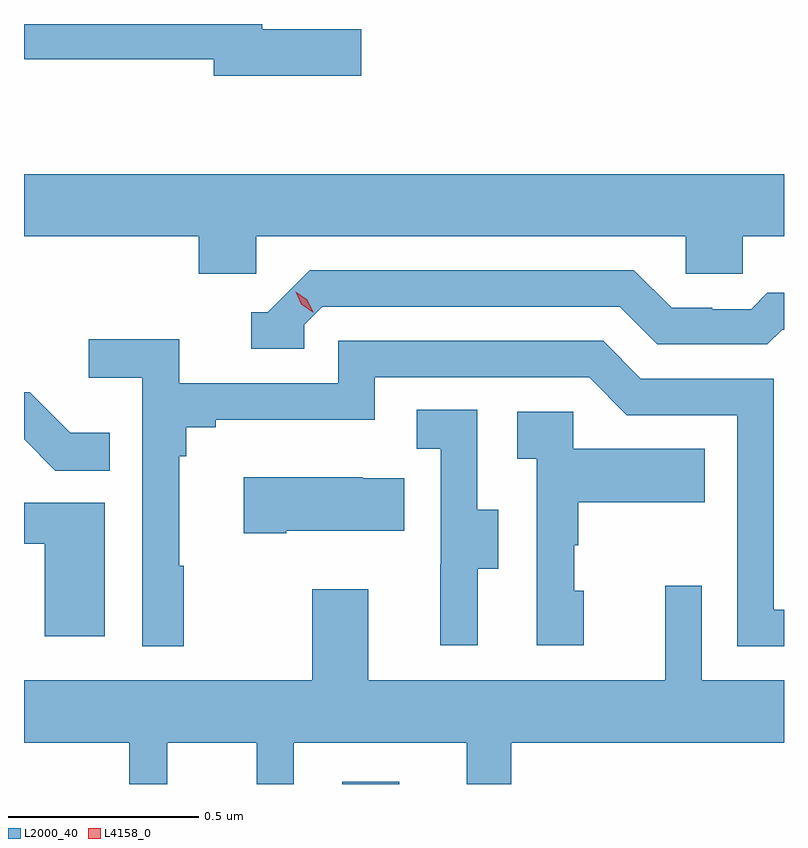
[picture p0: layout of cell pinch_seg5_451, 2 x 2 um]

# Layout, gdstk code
import gdstk
lib = gdstk.Library(unit=1e-6, precision=1e-09)
def R(c, l, rs):  # rectangles x0, y0, x1, y1
    for r in rs: c.add(gdstk.rectangle(r[:2], r[2:], *l))
def P(c, l, *ps):  # polygons
    for p in ps: c.add(gdstk.Polygon(p, *l))
L2000_40 = (2000, 40)
L4158_0 = (4158, 0)

pinch_seg5_451 = lib.new_cell('pinch_seg5_451')
R(pinch_seg5_451, L2000_40, [(946.013,864.643,946.162,864.649)])
P(pinch_seg5_451, L2000_40, [(946.063,866.629),(945.802,866.629),(945.802,866.643),(945.175,866.643),(945.175,866.55),(945.674,866.55),(945.674,866.507),(946.063,866.507)],
  [(945.786,866.084),(946.917,866.084),(946.917,865.986),(947.067,865.986),(947.067,866.084),(947.175,866.084),(947.175,866.248),(945.175,866.248),(945.175,866.084),(945.635,866.084),(945.635,865.986),(945.786,865.986)],
  [(945.912,865.851),(945.96,865.899),(946.743,865.899),(946.842,865.8),(947.131,865.8),(947.17,865.839),(947.175,865.839),(947.175,865.936),(947.131,865.936),(947.089,865.893),(946.986,865.893),(946.986,865.896),(946.879,865.896),(946.78,865.995),(945.927,865.995),(945.816,865.884),(945.773,865.884),(945.773,865.788),(945.912,865.788)],
  [(945.595,865.217),(945.583,865.217),(945.583,865.505),(945.602,865.505),(945.602,865.582),(945.679,865.582),(945.679,865.601),(946.098,865.601),(946.098,865.713),(946.662,865.713),(946.761,865.614),(947.052,865.614),(947.052,865.005),(947.175,865.005),(947.175,865.101),(947.148,865.101),(947.148,865.71),(946.798,865.71),(946.699,865.809),(946.002,865.809),(946.002,865.698),(945.584,865.698),(945.584,865.814),(945.345,865.814),(945.345,865.712),(945.486,865.712),(945.486,865.005),(945.595,865.005)],
  [(945.401,865.567),(945.297,865.567),(945.19,865.674),(945.175,865.674),(945.175,865.55),(945.257,865.468),(945.401,865.468)],
  [(946.369,865.21),(946.423,865.21),(946.423,865.365),(946.368,865.365),(946.368,865.628),(946.209,865.628),(946.209,865.525),(946.272,865.525),(946.272,865.221),(946.271,865.221),(946.271,865.008),(946.369,865.008)],
  [(946.648,865.152),(946.623,865.152),(946.623,865.271),(946.633,865.271),(946.633,865.385),(946.967,865.385),(946.967,865.525),(946.62,865.525),(946.62,865.623),(946.473,865.623),(946.473,865.499),(946.524,865.499),(946.524,865.008),(946.648,865.008)],
  [(945.865,865.31),(946.175,865.31),(946.175,865.447),(946.067,865.447),(946.067,865.45),(945.753,865.45),(945.753,865.303),(945.865,865.303)],
  [(945.388,865.383),(945.175,865.383),(945.175,865.275),(945.23,865.275),(945.23,865.032),(945.388,865.032)],
  [(945.175,864.752),(945.452,864.752),(945.452,864.643),(945.552,864.643),(945.552,864.752),(945.787,864.752),(945.787,864.643),(945.885,864.643),(945.885,864.752),(946.34,864.752),(946.34,864.643),(946.457,864.643),(946.457,864.752),(947.175,864.752),(947.175,864.916),(946.959,864.916),(946.959,865.165),(946.862,865.165),(946.862,864.916),(946.081,864.916),(946.081,865.156),(945.934,865.156),(945.934,864.916),(945.175,864.916)])
P(pinch_seg5_451, L4158_0, [(945.935,865.884),(945.905,865.905),(945.89,865.938),(945.89,865.938),(945.89,865.938),(945.92,865.918),(945.936,865.885),(945.936,865.884)])

lib.write_gds('pinch_seg5_451.gds')
